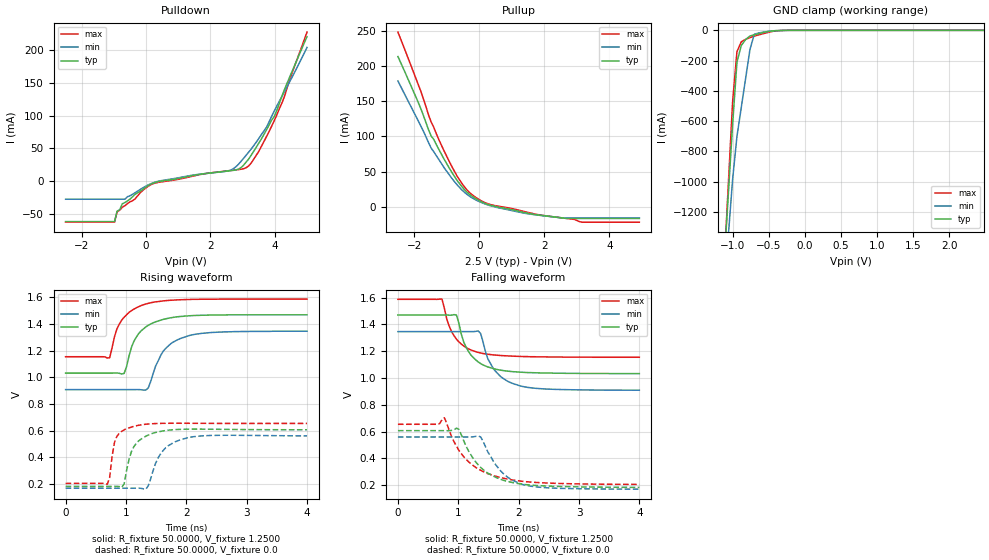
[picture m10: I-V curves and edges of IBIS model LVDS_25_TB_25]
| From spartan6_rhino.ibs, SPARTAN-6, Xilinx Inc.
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|   Model LVDS_25_TB_25
[Model]  LVDS_25_TB_25
Model_type I/O
Polarity   Non-Inverting
Enable   Active-Low
Vinl =   1.0000V
Vinh =   1.4000V
Vmeas =  1.2000V
Cref =   0.0F
Rref =   50.0000
Vref =   1.2000V
C_comp   5.71pF   5.63pF   6.21pF
|C_comp  6.33pF   6.15pF   6.69pF
[Temperature Range]   25.0000   85.0000   0.0
[Voltage Range]   2.5000V   2.2500V   2.7500V
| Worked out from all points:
|   slope of the pulldown table from 0 to 0.375 V, typ, clamps not added: 46.5 ohm
|   slope of the pullup table from 0 to 0.375 V, typ, clamps not added: 54.3 ohm
|   GND clamp passes 1 mA (typ) near -0.36 V on its own axis
|   rising waveform, R_fixture 50.0000, V_fixture 1.2500: 20-80 % time 311ps typ, 334ps min, 313ps max; typ from 1.03 V to 1.47 V
|   rising waveform, R_fixture 50.0000, V_fixture 0.0: 20-80 % time 211ps typ, 273ps min, 120ps max; typ from 0.183 V to 0.608 V
|   falling waveform, R_fixture 50.0000, V_fixture 1.2500: 20-80 % time 306ps typ, 330ps min, 304ps max; typ from 1.47 V to 1.03 V
|   falling waveform, R_fixture 50.0000, V_fixture 0.0: 20-80 % time 478ps typ, 402ps min, 554ps max; typ from 0.608 V to 0.185 V
[Pulldown]
|Voltage   I(typ)   I(min)   I(max)
-2.5V     -61.6mA    -27.51mA   -62.5mA
-980mV    -61.6mA    -27.51mA   -62.5mA
-900mV    -45.6mA    -27.51mA   -46.81mA
-740mV    -34.58mA   -27.51mA   -39.74mA
220mV     -2.917mA   -2.422mA   -3.841mA
2.62V     15.99mA    16.61mA    16.3mA
2.94V     20.24mA    29.62mA    18.16mA
3.18V     33.32mA    43.81mA    22.92mA
3.74V     78.2mA     82.08mA    67.89mA
4.06V     107.7mA    114.4mA    100.9mA
4.3V      139.7mA    136.5mA    129.3mA
5V        220.4mA    203.9mA    227.3mA
[Pullup]
|Voltage   I(typ)   I(min)   I(max)
-2.5V     213.1mA    178.5mA    247.8mA
-1.88V    148.5mA    122.2mA    173.9mA
-1.48V    100.5mA    83.24mA    120.4mA
-1.16V    74.27mA    61.13mA    86.94mA
-680mV    37.2mA     31.07mA    43.35mA
-440mV    23.4mA     19.86mA    27.27mA
-200mV    14.3mA     12.08mA    16.44mA
280mV     2.956mA    2.276mA    4.022mA
1.8V      -11.6mA    -11.78mA   -11.07mA
2.92V     -16.57mA   -15.65mA   -17.89mA
3.16V     -16.57mA   -15.65mA   -21.87mA
4.92V     -16.57mA   -15.65mA   -21.87mA
[GND_clamp]
|Voltage   I(typ)   I(min)   I(max)
-2.5V     -12.34A    -10.45A    -14.37A
-1.12V    -1.552A    -1.737A    -1.574A
-1.06V    -1.086A    -1.36A     -1.022A
-1V       -620.4mA   -984.1mA   -471.1mA
-940mV    -209.6mA   -700.3mA   -141.1mA
-880mV    -100.4mA   -509.1mA   -76.1mA
-820mV    -60.93mA   -317.9mA   -59.55mA
-760mV    -37.45mA   -126.7mA   -48.26mA
-700mV    -29.96mA   -25.9mA    -37.98mA
-460mV    -4.716mA   -4.925mA   -8.2mA
-220mV    -25.71uA   -31.02uA   -35.24uA
2.48V     24.73nA    227.2nA    26.29nA
[POWER_clamp]
|Voltage   I(typ)   I(min)   I(max)
-4.1V     0A         0A         0A
-4.08V    0A         0A         0A
-4.04V    0A         0A         0A
-800mV    0A         0A         0A
[Ramp]
| variable   typ   min   max
dV/dt_r  0.2545/0.1961n   0.2353/0.2615n   0.2696/0.1202n
dV/dt_f  0.2364/72.6381p   0.2196/0.1185n   0.2562/53.0873p
R_load = 50.0000
[Rising Waveform]
R_fixture= 50.0000
V_fixture= 1.2500
V_fixture_min= 1.1250
V_fixture_max= 1.3750
|time   V(typ)   V(min)   V(max)
0s        1.032V     908.4mV    1.155V
730ps     1.032V     908.4mV    1.147V
850ps     1.033V     908.4mV    1.363V
970ps     1.03V      908.4mV    1.451V
1.13ns    1.269V     908.5mV    1.511V
1.37ns    1.391V     921.4mV    1.555V
1.49ns    1.417V     1.084V     1.566V
1.62ns    1.435V     1.198V     1.573V
1.94ns    1.458V     1.298V     1.583V
4ns       1.469V     1.346V     1.587V
[Rising Waveform]
R_fixture= 50.0000
V_fixture= 0.0
|time   V(typ)   V(min)   V(max)
0s        183.3mV    169.7mV    205.8mV
690ps     183.3mV    169.7mV    198.6mV
810ps     183.4mV    169.7mV    513.1mV
850ps     183.8mV    169.7mV    558mV
970ps     202mV      169.7mV    607.1mV
1.13ns    480.2mV    169.7mV    633.3mV
1.33ns    559.6mV    162.6mV    649.3mV
1.58ns    596mV      431.5mV    655.4mV
1.9ns     610.7mV    532.4mV    656.5mV
4ns       607.6mV    561.8mV    655.1mV
[Falling Waveform]
R_fixture= 50.0000
V_fixture= 1.2500
V_fixture_min= 1.1250
V_fixture_max= 1.3750
|time   V(typ)   V(min)   V(max)
0s        1.47V      1.346V     1.587V
730ps     1.47V      1.346V     1.589V
850ps     1.469V     1.346V     1.387V
970ps     1.47V      1.346V     1.29V
1.13ns    1.23V      1.346V     1.227V
1.33ns    1.12V      1.351V     1.191V
1.49ns    1.083V     1.143V     1.177V
1.58ns    1.071V     1.071V     1.173V
1.9ns     1.048V     959.9mV    1.163V
4ns       1.033V     909.2mV    1.155V
[Falling Waveform]
R_fixture= 50.0000
V_fixture= 0.0
|time   V(typ)   V(min)   V(max)
0s        607.5mV    560.3mV    655.2mV
650ps     607.5mV    560.3mV    655.6mV
770ps     607.5mV    560.3mV    703.6mV
1.01ns    617.5mV    560.3mV    460.5mV
1.17ns    455.7mV    560.2mV    376.1mV
1.37ns    333.6mV    561.1mV    312.1mV
1.7ns     245.3mV    308.5mV    257.8mV
1.94ns    217mV      229mV      237.3mV
2.26ns    199.7mV    190mV      222.1mV
4ns       184.6mV    171.2mV    206.6mV
